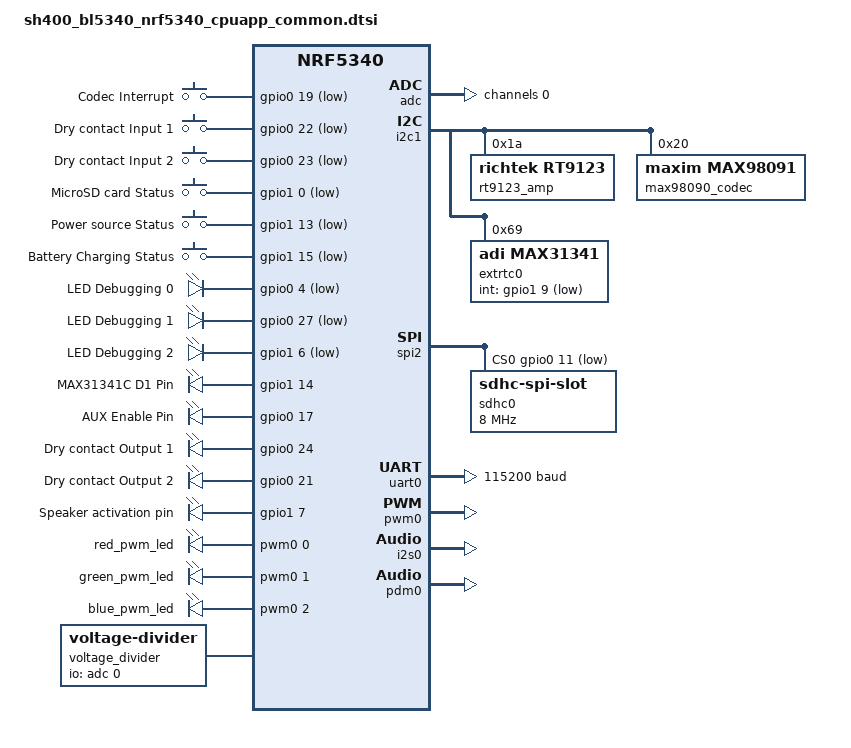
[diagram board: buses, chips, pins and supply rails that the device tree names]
/*
 * Copyright (c) 2019-2023 Nordic Semiconductor ASA
 * Copyright (c) 2021-2023 Laird Connectivity
 *
 * SPDX-License-Identifier: Apache-2.0
 */
#include "sh400_bl5340_nrf5340_cpuapp_common-pinctrl.dtsi"
#include <zephyr/dt-bindings/input/input-event-codes.h>

/ {
	chosen {
		zephyr,console = &uart0;
		zephyr,shell-uart = &uart0;
		zephyr,uart-mcumgr = &uart0;
        zephyr,bt-mon-uart = &uart0;
		zephyr,bt-c2h-uart = &uart0;
		zephyr,bt-hci = &bt_hci_ipc0;
	};

	buttons {
		compatible = "gpio-keys";

		codec_irq: codec_irq {
			gpios = <&gpio0 19 GPIO_ACTIVE_LOW>;
			label = "Codec Interrupt";
			zephyr,code = <INPUT_KEY_0>;
		};

		drc_in_1: drc_in_1 {
            gpios = <&gpio0 22 GPIO_ACTIVE_LOW>;
            label = "Dry contact Input 1";
			zephyr,code = <INPUT_KEY_1>;
        };

		drc_in_2: drc_in_2 {
            gpios = <&gpio0 23 GPIO_ACTIVE_LOW>;
            label = "Dry contact Input 2";
			zephyr,code = <INPUT_KEY_2>;
        };

		sdst: sdst {
            gpios = <&gpio1 0 GPIO_ACTIVE_LOW>;
            label = "MicroSD card Status";
			zephyr,code = <INPUT_KEY_3>;
        };

		power_good: power_good {
            gpios = <&gpio1 13 GPIO_ACTIVE_LOW>;
            label = "Power source Status";
			zephyr,code = <INPUT_KEY_4>;
        };

		charge_st: charge_st {
            gpios = <&gpio1 15 GPIO_ACTIVE_LOW>;
            label = "Battery Charging Status";
			zephyr,code = <INPUT_KEY_5>;
        };
	};

	leds {
		compatible = "gpio-leds";
		led0: led_0 {
			gpios = <&gpio0 4 GPIO_ACTIVE_LOW>;
			label = "LED Debugging 0";
		};

        led1: led_1 {
			gpios = <&gpio0 27 GPIO_ACTIVE_LOW>;
			label = "LED Debugging 1";
		};

        led2: led_2 {
			gpios = <&gpio1 6 GPIO_ACTIVE_LOW>;
			label = "LED Debugging 2";
		};

        rtc_d1: rtc_d1 {
            gpios = <&gpio1 14 GPIO_ACTIVE_HIGH>;
            label = "MAX31341C D1 Pin";
        };

		aux_en: aux_en {
            gpios = <&gpio0 17 GPIO_ACTIVE_HIGH>;
            label = "AUX Enable Pin";
        };

		drc_out_1: drc_out_1 {
            gpios = <&gpio0 24 GPIO_ACTIVE_HIGH>;
            label = "Dry contact Output 1";
        };

		drc_out_2: drc_out_2 {
            gpios = <&gpio0 21 GPIO_ACTIVE_HIGH>;
            label = "Dry contact Output 2";
        };

		spk_en: spk_en {
            gpios = <&gpio1 7 GPIO_ACTIVE_HIGH>;
            label = "Speaker activation pin";
        };
	};

    pwmleds {
		compatible = "pwm-leds";

		red_pwm_led: red_pwm_led {
			pwms = <&pwm0 0 PWM_MSEC(20) PWM_POLARITY_NORMAL>;
		};
		green_pwm_led: green_pwm_led {
			pwms = <&pwm0 1 PWM_MSEC(20) PWM_POLARITY_NORMAL>;
		};
		blue_pwm_led: blue_pwm_led {
			pwms = <&pwm0 2 PWM_MSEC(20) PWM_POLARITY_NORMAL>;
		};
	};

	voltage_divider {
        compatible = "voltage-divider";

        io-channels = <&adc 0>; // AIN7
        output-ohms = <249000>;
        full-ohms = <(249000 + 100000)>;
    };

	/* These aliases are provided for compatibility with samples */
	aliases {
		led0 = &led0;
        led1 = &led1;
        led2 = &led2;
		red-pwm-led = &red_pwm_led;
		green-pwm-led = &green_pwm_led;
		blue-pwm-led = &blue_pwm_led;
        rtc-d1 = &rtc_d1;
		drc-out-1 = &drc_out_1;
		drc-out-2 = &drc_out_2;
		drc-in-1 = &drc_in_1;
		drc-in-2 = &drc_in_2;
		aux-en = &aux_en;
		codec-irq = &codec_irq;
		sdst = &sdst;
		power-good = &power_good;
		charge-st = &charge_st;
		spk-en = &spk_en;
	};

};

&adc {
    status = "okay";

	#address-cells = <1>;
    #size-cells = <0>;

    io-channels = <&adc 0>;

    battery_meas: channel@0 {
        reg = <0>;
        zephyr,gain = "ADC_GAIN_1_6";
        zephyr,reference = "ADC_REF_INTERNAL";
        zephyr,acquisition-time = <ADC_ACQ_TIME(ADC_ACQ_TIME_MICROSECONDS, 40)>;
        zephyr,input-positive = <NRF_SAADC_AIN7>;
        zephyr,resolution = <14>;
        zephyr,oversampling = <8>;
    };
};

&gpiote {
	status = "okay";
};

&gpio0 {
	status = "okay";
};

&gpio1 {
	status = "okay";
};

&i2c1 {
	compatible = "nordic,nrf-twim";
	status = "okay";

	pinctrl-0 = <&i2c1_default>;
	pinctrl-1 = <&i2c1_sleep>;
	pinctrl-names = "default", "sleep";

    rt9123_amp: rt9123@1a {
        compatible = "richtek,rt9123";
        reg = <0x1A>;
    };

    max98090_codec: max98090@20 {
        compatible = "maxim,max98091";
        reg = <0x20>;
        mclk-frequency = <13000000>; /* please change according to your application */
    };

	extrtc0: max31341@69 {
        compatible = "adi,max31341";
        reg = <0x69>;                  /* I2C address (0xD2) */
        int-gpios = <&gpio1 9 GPIO_ACTIVE_LOW>;
    };
};

&spi2 {
	compatible = "nordic,nrf-spim";
	status = "okay";
	cs-gpios = <&gpio0 11 GPIO_ACTIVE_LOW>;

	pinctrl-0 = <&spi2_default>;
	pinctrl-1 = <&spi2_sleep>;
	pinctrl-names = "default", "sleep";
	
    sdhc0: sdhc@0 {
		reg = <0>;
		compatible = "zephyr,sdhc-spi-slot";
		status = "okay";
		spi-max-frequency = <8000000>;
		mmc {
			compatible = "zephyr,sdmmc-disk";
			disk-name = "SD";
			status = "okay";
		};
	};
};

&uart0 {
	status = "okay";
	current-speed = <115200>;
	pinctrl-0 = <&uart0_default>;
	pinctrl-1 = <&uart0_sleep>;
	pinctrl-names = "default", "sleep";
};

&pwm0 {
	status = "okay";
	pinctrl-0 = <&pwm0_default>;
	pinctrl-1 = <&pwm0_sleep>;
	pinctrl-names = "default", "sleep";
};

&clock {
	hfclkaudio-frequency = <12288000>;
};

i2s_rxtx: &i2s0 {
	status = "okay";
	pinctrl-0 = <&i2s0_default_alt>;
	pinctrl-names = "default";
	clock-source = "ACLK";
};

dmic_dev: &pdm0 {
	status = "okay";
	pinctrl-0 = <&pdm0_default_alt>;
	pinctrl-names = "default";
	clock-source = "ACLK";
};

&flash0 {
	partitions {
		compatible = "fixed-partitions";
		#address-cells = <1>;
		#size-cells = <1>;

		/* 64K */
		boot_partition: partition@0 {
			label = "mcuboot";
			reg = <0x00000000 0x00010000>;
		};
		/* 640K */
		slot0_partition: partition@10000 {
			label = "image-0";
		};
		/* 256K */
		slot0_ns_partition: partition@b0000 {
			label = "image-0-nonsecure";
		};

		/*
		 * The flash starting at 0x000f8000 and ending at
		 * 0x000fffff is reserved for use by the application.
		 */

		/*
		 * Storage partition will be used by FCB/NVS
		 * if enabled. 32K
		 */
		storage_partition: partition@f8000 {
			label = "storage";
			reg = <0x000f8000 0x00008000>;
		};
	};
};

/ {
	reserved-memory {
		#address-cells = <1>;
		#size-cells = <1>;
		ranges;

		sram0_image: image@20000000 {
			/* Zephyr image(s) memory */
		};

		sram0_s: image_s@20000000 {
			/* Secure image memory */
		};

		sram0_ns: image_ns@20040000 {
			/* Non-Secure image memory */
		};
	};
};

/* Include partition configuration file */
#include "sh400_bl5340_nrf5340_cpuapp_partition_conf.dtsi"
